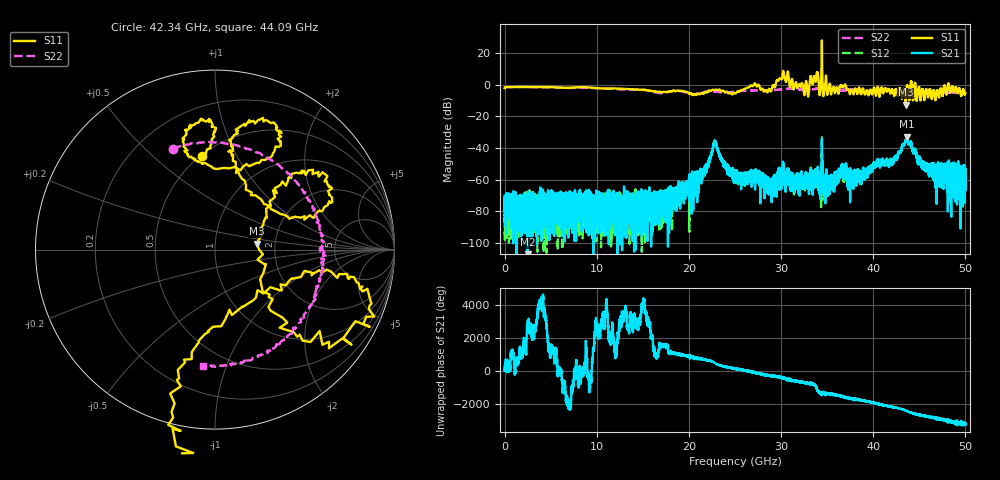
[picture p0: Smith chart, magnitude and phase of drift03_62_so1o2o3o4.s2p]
!Created with skrf (http://scikit-rf.org).
# Hz S RI R 50.0
!freq ReS11 ImS11 ReS21 ImS21 ReS12 ImS12 ReS22 ImS22
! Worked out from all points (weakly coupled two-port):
!   10000 points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, 5.3 MHz to 50 GHz, reference 50 ohm
!   highest |S21| = -32.71 dB at 43.66 GHz (marker M1); lowest = -118.4 dB at 2.495 GHz (marker M2)
!   lowest |S11| = -12.5 dB at 43.52 GHz (marker M3), VSWR 1.62, Z = 80.3 + j5.71 ohm
!   |S11| at or under -10 dB: 43.48412 GHz to 43.5557 GHz (71.57 MHz wide, 0.164 % of centre); 44.70432 GHz to 44.71015 GHz (5.822 MHz wide, 0.013 % of centre)
!   |S22| runs from -5.9 to -1.3 dB; largest |S21 - S12| = 0.015
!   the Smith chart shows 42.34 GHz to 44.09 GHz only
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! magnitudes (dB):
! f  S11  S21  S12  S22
! 5.3 MHz  -2.1  -79.0  -77.2  -2.1
! 2.495 GHz  -1.4  -118.4  -72.7  -1.4
! 8.34 GHz  -1.5  -74.0  -76.3  -1.9
! 16.67 GHz  -4.4  -81.5  -75.0  -5.2
! 20.96 GHz  -5.7  -62.6  -55.6  -5.7
! 21.92 GHz  -4.8  -54.9  -50.9  -4.4
! 22.82 GHz  -3.4  -35.5  -35.2  -4.4
! 25.01 GHz  -5.5  -58.6  -56.5  -4.2
! 27.02 GHz  -0.4  -56.1  -56.1  -3.5
! 28.85 GHz  -3.7  -62.8  -65.5  -3.5
! 30.14 GHz  4.4  -58.5  -56.6  -2.8
! 32.74 GHz  2.1  -57.3  -59.3  -3.3
! 33.34 GHz  2.6  -56.8  -58.6  -2.9
! 33.82 GHz  4.0  -55.2  -59.6  -2.6
! 34.87 GHz  5.3  -60.5  -60.4  -2.4
! 36.48 GHz  -0.5  -57.1  -54.2  -3.8
! 38.07 GHz  -2.4  -58.9  -55.7  -2.8
! 41.67 GHz  -2.9  -50.7  -50.6  -3.8
! 43.52 GHz  -12.5  -35.5  -35.6  -4.2
! 43.66 GHz  -0.7  -32.7  -33.7  -4.1
! 45.55 GHz  -9.4  -51.1  -51.5  -5.0
! 50 GHz  -5.3  -60.2  -62.3  -5.0
